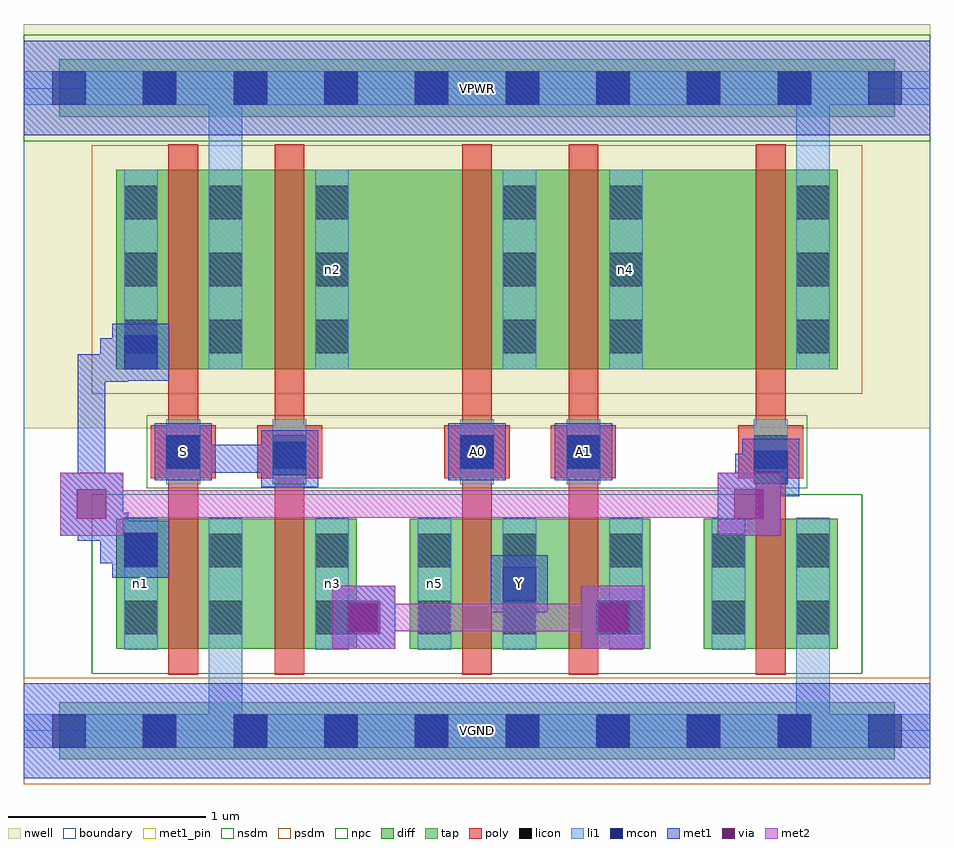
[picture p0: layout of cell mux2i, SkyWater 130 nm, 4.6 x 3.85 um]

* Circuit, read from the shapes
.subckt mux2i A0 A1 S VGND VPWR Y n1 n2 n3 n4 n5
XM1 VGND S n1 VGND sky130_fd_pr__nfet_01v8 w=0.66 l=0.15
XM2 n3 S VGND VGND sky130_fd_pr__nfet_01v8 w=0.66 l=0.15
XM3 Y A0 n5 VGND sky130_fd_pr__nfet_01v8 w=0.66 l=0.15
XM4 n3 A1 Y VGND sky130_fd_pr__nfet_01v8 w=0.66 l=0.15
XM5 VGND n1 n6 VGND sky130_fd_pr__nfet_01v8 w=0.66 l=0.15
XM6 VPWR S n1 VPWR sky130_fd_pr__pfet_01v8 w=1.01 l=0.15
XM7 n2 S VPWR VPWR sky130_fd_pr__pfet_01v8 w=1.01 l=0.15
XM8 n7 A0 n2 VPWR sky130_fd_pr__pfet_01v8 w=1.01 l=0.15
XM9 n4 A1 n7 VPWR sky130_fd_pr__pfet_01v8 w=1.01 l=0.15
XM10 VPWR n1 n4 VPWR sky130_fd_pr__pfet_01v8 w=1.01 l=0.15
.ends

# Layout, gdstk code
import gdstk
lib = gdstk.Library(unit=1e-6, precision=1e-09)
def R(c, l, rs):  # rectangles x0, y0, x1, y1
    for r in rs: c.add(gdstk.rectangle(r[:2], r[2:], *l))
def A(c, l, x, y, w, h, nx, ny, dx, dy):  # array of equal rectangles
    R(c, l, [(x+i*dx, y+j*dy, x+i*dx+w, y+j*dy+h) for i in range(nx) for j in range(ny)])
nwell = (64, 20)
diff = (65, 20)
tap = (65, 44)
poly = (66, 20)
licon = (66, 44)
li1 = (67, 20)
mcon = (67, 44)
met1_pin = (68, 16)
met1 = (68, 20)
via = (68, 44)
met2 = (69, 20)
nsdm = (93, 44)
psdm = (94, 20)
npc = (95, 20)
boundary = (235, 4)

mux2i = lib.new_cell('mux2i')
R(mux2i, nwell, [(0,1.535,4.6,3.585)])
R(mux2i, diff, [(0.47,0.415,1.69,1.075), (1.96,0.415,3.18,1.075), (3.45,0.415,4.13,1.075), (0.47,1.835,4.13,2.845)])
R(mux2i, tap, [(0.18,-0.145,4.42,0.145), (0.18,3.115,4.42,3.405)])
R(mux2i, poly, [(0.735,0.285,0.885,2.975), (1.275,0.285,1.425,2.975), (2.225,0.285,2.375,2.975), (2.765,0.285,2.915,2.975), (3.715,0.285,3.865,2.975), (0.645,1.28,0.975,1.55), (1.185,1.28,1.515,1.55), (2.135,1.28,2.465,1.55), (2.675,1.28,3.005,1.55), (3.625,1.28,3.955,1.55)])
A(mux2i, licon, 0.605, -0.085, 0.17, 0.17, 8, 2, 0.46, 3.26)
A(mux2i, licon, 0.51, 1.915, 0.17, 0.17, 1, 3, 0, 0.34)
A(mux2i, licon, 0.94, 1.915, 0.17, 0.17, 1, 3, 0, 0.34)
A(mux2i, licon, 1.48, 1.915, 0.17, 0.17, 1, 3, 0, 0.34)
A(mux2i, licon, 2.43, 1.915, 0.17, 0.17, 1, 3, 0, 0.34)
A(mux2i, licon, 2.97, 1.915, 0.17, 0.17, 1, 3, 0, 0.34)
A(mux2i, licon, 3.92, 1.915, 0.17, 0.17, 1, 3, 0, 0.34)
R(mux2i, licon, [(0.51,0.49,0.68,0.66), (0.94,0.49,1.11,0.66), (1.48,0.49,1.65,0.66), (2,0.49,2.17,0.66), (2.43,0.49,2.6,0.66), (2.97,0.49,3.14,0.66), (3.49,0.49,3.66,0.66), (3.92,0.49,4.09,0.66), (0.51,0.83,0.68,1), (0.94,0.83,1.11,1), (1.48,0.83,1.65,1), (2,0.83,2.17,1), (2.43,0.83,2.6,1), (2.97,0.83,3.14,1), (3.49,0.83,3.66,1), (3.92,0.83,4.09,1), (0.725,1.33,0.895,1.5), (1.265,1.33,1.435,1.5), (2.215,1.33,2.385,1.5), (2.755,1.33,2.925,1.5), (3.705,1.33,3.875,1.5)])
R(mux2i, li1, [(0,-0.085,4.6,0.085), (0.94,-0.085,1.11,1.08), (3.92,-0.085,4.09,1.08), (0.51,0.41,0.68,1.08), (0.94,0.41,1.11,1.08), (1.48,0.41,1.65,1.08), (2,0.41,2.17,1.08), (2.43,0.41,2.6,1.08), (2.97,0.41,3.14,1.08), (3.49,0.41,3.66,1.08), (3.92,0.41,4.09,1.08), (1.48,0.49,1.81,0.66), (2.905,0.49,3.14,0.66), (0.725,1.25,0.895,1.58), (1.265,1.25,1.435,1.58), (2.215,1.25,2.385,1.58), (2.755,1.25,2.925,1.58), (3.705,1.25,3.875,1.58), (0.51,1.835,0.68,2.845), (0.94,1.835,1.11,2.845), (0.94,1.835,1.11,3.345), (1.48,1.835,1.65,2.845), (2.43,1.835,2.6,2.845), (2.97,1.835,3.14,2.845), (3.92,1.835,4.09,2.845), (3.92,1.835,4.09,3.345), (0,3.175,4.6,3.345)])
A(mux2i, mcon, 0.145, -0.085, 0.17, 0.17, 10, 2, 0.46, 3.26)
R(mux2i, mcon, [(1.64,0.49,1.81,0.66), (2.905,0.49,3.075,0.66), (2.43,0.66,2.6,0.83), (0.51,0.835,0.68,1.005), (3.705,1.25,3.875,1.42), (1.265,1.295,1.435,1.465), (0.725,1.33,0.895,1.5), (2.215,1.33,2.385,1.5), (2.755,1.33,2.925,1.5), (0.51,1.835,0.68,2.005)])
R(mux2i, met1_pin, [(0,-0.24,4.6,0.24), (2.37,0.6,2.66,0.89), (0.665,1.27,0.955,1.56), (2.155,1.27,2.445,1.56), (2.695,1.27,2.985,1.56), (0,3.02,4.6,3.5)])
R(mux2i, met1, [(0,-0.24,4.6,0.24), (1.565,0.415,1.885,0.735), (2.83,0.415,3.15,0.735), (1.58,0.43,1.87,0.72), (2.845,0.43,3.135,0.72), (2.37,0.6,2.66,0.89), (0.45,0.775,0.74,1.065), (0.39,0.85,0.665,0.99), (0.39,0.85,0.53,1.105), (0.275,0.965,0.53,1.105), (0.275,0.965,0.415,1.91), (0.185,0.99,0.505,1.31), (3.52,0.99,3.84,1.31), (3.61,1.08,3.75,1.405), (3.645,1.19,3.935,1.48), (1.205,1.235,1.495,1.525), (3.61,1.265,3.86,1.405), (0.665,1.27,0.955,1.56), (2.155,1.27,2.445,1.56), (2.695,1.27,2.985,1.56), (0.735,1.31,0.875,1.45), (0.735,1.31,1.22,1.45), (1.08,1.31,1.42,1.45), (0.275,1.77,0.53,1.91), (0.39,1.77,0.53,1.99), (0.45,1.775,0.74,2.065), (0.39,1.85,0.665,1.99), (0,3.02,4.6,3.5)])
R(mux2i, via, [(1.65,0.5,1.8,0.65), (2.915,0.5,3.065,0.65), (0.27,1.075,0.42,1.225), (3.605,1.075,3.755,1.225)])
R(mux2i, met2, [(1.565,0.415,1.885,0.735), (2.83,0.415,3.15,0.735), (1.655,0.505,3.06,0.645), (0.185,0.99,0.505,1.31), (3.52,0.99,3.84,1.31), (0.275,1.08,3.75,1.22)])
R(mux2i, nsdm, [(0.345,0.29,4.255,1.2), (0,2.99,4.6,3.53)])
R(mux2i, psdm, [(0,-0.27,4.6,0.27), (0.345,1.71,4.255,2.97)])
R(mux2i, npc, [(0.625,1.23,3.975,1.6)])
R(mux2i, boundary, [(0,0,4.6,3.26)])
mux2i.add(gdstk.Label('n1', (0.595,0.745), layer=67, texttype=5))
mux2i.add(gdstk.Label('n3', (1.565,0.745), layer=67, texttype=5))
mux2i.add(gdstk.Label('n5', (2.085,0.745), layer=67, texttype=5))
mux2i.add(gdstk.Label('n2', (1.565,2.34), layer=67, texttype=5))
mux2i.add(gdstk.Label('n4', (3.055,2.34), layer=67, texttype=5))
mux2i.add(gdstk.Label('S', (0.81,1.415), layer=68, texttype=5))
mux2i.add(gdstk.Label('A0', (2.3,1.415), layer=68, texttype=5))
mux2i.add(gdstk.Label('A1', (2.84,1.415), layer=68, texttype=5))
mux2i.add(gdstk.Label('Y', (2.515,0.745), layer=68, texttype=5))
mux2i.add(gdstk.Label('VPWR', (2.3,3.26), layer=68, texttype=5))
mux2i.add(gdstk.Label('VGND', (2.3,0), layer=68, texttype=5))
mux2i.add(gdstk.Label('S', (0.81,1.415), layer=68, texttype=16))
mux2i.add(gdstk.Label('A0', (2.3,1.415), layer=68, texttype=16))
mux2i.add(gdstk.Label('A1', (2.84,1.415), layer=68, texttype=16))
mux2i.add(gdstk.Label('Y', (2.515,0.745), layer=68, texttype=16))
mux2i.add(gdstk.Label('VPWR', (2.3,3.26), layer=68, texttype=16))
mux2i.add(gdstk.Label('VGND', (2.3,0), layer=68, texttype=16))

lib.write_gds('mux2i.gds')
